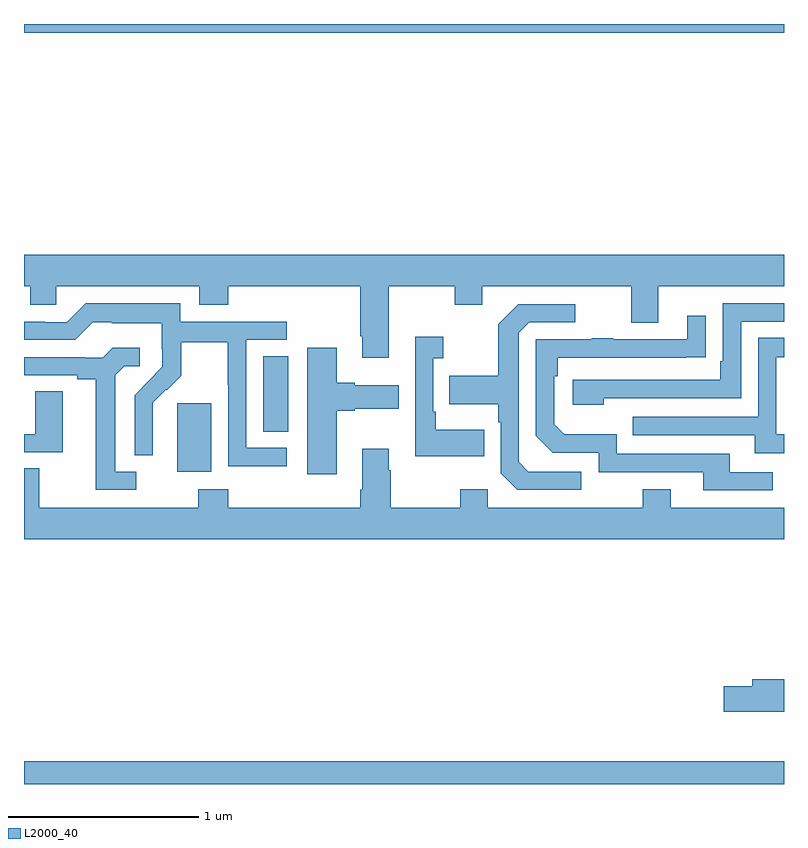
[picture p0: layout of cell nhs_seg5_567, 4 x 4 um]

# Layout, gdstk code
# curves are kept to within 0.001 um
import gdstk
lib = gdstk.Library(unit=1e-6, precision=1e-09)
def R(c, l, rs):  # rectangles x0, y0, x1, y1
    for r in rs: c.add(gdstk.rectangle(r[:2], r[2:], *l))
def P(c, l, *ps):  # polygons
    for p in ps: c.add(gdstk.Polygon(p, *l))
L2000_40 = (2000, 40)

nhs_seg5_567 = lib.new_cell('nhs_seg5_567')
R(nhs_seg5_567, L2000_40, [(147,860.799,151,860.92), (147.806,862.442,147.985,862.803), (148.259,862.654,148.39,863.051), (147,864.752,151,864.799)])
P(nhs_seg5_567, L2000_40, [(148.921,863.42),(149.266,863.42),(149.266,863.321),(149.413,863.321),(149.413,863.42),(150.197,863.42),(150.197,863.226),(150.337,863.226),(150.337,863.42),(151,863.42),(151,863.584),(147,863.584),(147,863.42),(147.033,863.42),(147.033,863.322),(147.171,863.322),(147.171,863.42),(147.923,863.42),(147.923,863.321),(148.076,863.321),(148.076,863.42),(148.769,863.42),(148.769,863.155),(148.781,863.155),(148.781,863.043),(148.921,863.043)],
  [(148.384,862.569),(148.17,862.569),(148.17,863.136),(148.384,863.136),(148.384,863.232),(147.822,863.232),(147.822,863.329),(147.325,863.329),(147.225,863.229),(147.11,863.229),(147.11,863.232),(147,863.232),(147,863.136),(147.27,863.136),(147.363,863.229),(147.463,863.229),(147.463,863.225),(147.726,863.225),(147.726,863.091),(147.728,863.091),(147.728,862.994),(147.582,862.846),(147.582,862.528),(147.678,862.528),(147.677,862.805),(147.747,862.875),(147.75,862.872),(147.827,862.949),(147.827,863.124),(148.072,863.124),(148.072,862.9),(148.074,862.9),(148.074,862.471),(148.384,862.471)],
  [(150.05,862.83),(150.774,862.83),(150.774,863.232),(151,863.232),(151,863.328),(150.678,863.328),(150.678,863.023),(150.665,863.023),(150.665,862.926),(149.889,862.926),(149.889,862.796),(150.05,862.796)],
  [(149.932,862.443),(149.655,862.443),(149.604,862.494),(149.604,863.175),(149.658,863.229),(149.902,863.229),(149.902,863.325),(149.601,863.325),(149.496,863.219),(149.496,862.947),(149.239,862.947),(149.239,862.799),(149.496,862.799),(149.496,862.703),(149.508,862.703),(149.508,862.434),(149.595,862.347),(149.932,862.347)],
  [(150.94,862.44),(150.715,862.44),(150.715,862.536),(150.12,862.536),(150.12,862.639),(149.843,862.639),(149.79,862.692),(149.79,862.946),(149.81,862.946),(149.81,863.043),(150.587,863.044),(150.587,863.263),(150.491,863.263),(150.491,863.139),(150.101,863.139),(150.101,863.144),(149.989,863.144),(149.989,863.139),(149.694,863.139),(149.694,862.632),(149.784,862.542),(150.024,862.542),(150.024,862.44),(150.575,862.44),(150.575,862.344),(150.94,862.344)],
  [(149.423,862.663),(149.167,862.663),(149.167,862.759),(149.154,862.759),(149.154,863.039),(149.206,863.039),(149.206,863.152),(149.058,863.152),(149.058,862.523),(149.423,862.523)],
  [(151,862.641),(150.96,862.641),(150.96,863.046),(151,863.046),(151,863.147),(150.864,863.147),(150.864,862.731),(150.205,862.731),(150.205,862.635),(150.845,862.635),(150.845,862.541),(151,862.541)],
  [(147.592,862.443),(147.481,862.443),(147.481,862.951),(147.528,862.998),(147.61,862.998),(147.61,863.095),(147.466,863.095),(147.414,863.043),(147.32,863.043),(147.32,863.046),(147,863.046),(147,862.95),(147.281,862.95),(147.281,862.928),(147.377,862.928),(147.377,862.347),(147.592,862.347)],
  [(148.645,862.763),(148.741,862.763),(148.741,862.775),(148.972,862.775),(148.972,862.897),(148.741,862.897),(148.741,862.91),(148.645,862.91),(148.645,863.095),(148.49,863.095),(148.49,862.428),(148.645,862.428)],
  [(147.205,862.865),(147.06,862.865),(147.06,862.641),(147,862.641),(147,862.545),(147.205,862.545)],
  [(151,862.252),(150.403,862.252),(150.403,862.351),(150.256,862.351),(150.256,862.252),(149.442,862.252),(149.442,862.351),(149.296,862.351),(149.296,862.252),(148.929,862.252),(148.929,862.451),(148.921,862.451),(148.921,862.564),(148.781,862.564),(148.781,862.348),(148.769,862.348),(148.769,862.252),(148.076,862.252),(148.076,862.351),(147.916,862.351),(147.916,862.252),(147.079,862.252),(147.079,862.46),(147,862.46),(147,862.088),(151,862.088)],
  [(151,861.35),(150.833,861.35),(150.833,861.314),(150.684,861.314),(150.684,861.179),(151,861.179)])

lib.write_gds('nhs_seg5_567.gds')
